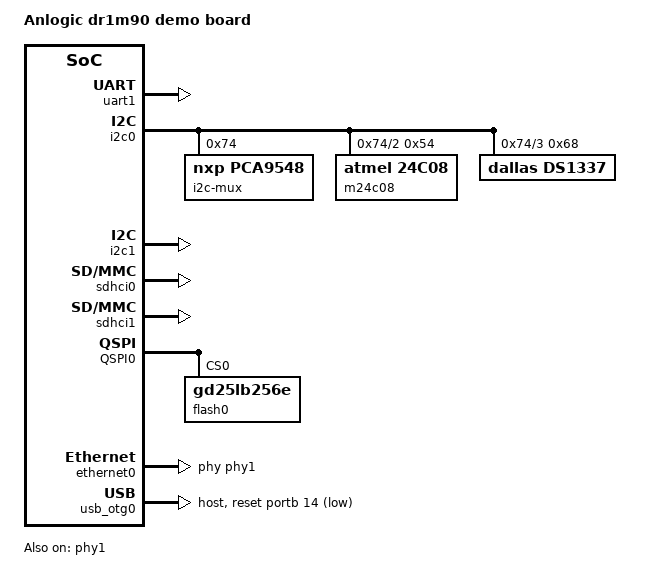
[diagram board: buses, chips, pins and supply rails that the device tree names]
// SPDX-License-Identifier: (GPL-2.0+ OR MIT)

/*
 * Copyright (c) 2022 Anlogic Inc.
 */
/dts-v1/;

#include "anlogic-dr1m90.dts"

/ {
	model = "Anlogic dr1m90 demo board";
	compatible = "anlogic, dr1m90-fpga";

	aliases {
		console = &uart1;
		serial0 = &uart1;
		mmc0 = &sdhci0;
		mmc1 = &sdhci1;
		ethernet0 = &ethernet0;
		spi0 = &QSPI0;
	};
};

&memory {
	reg = <0 0x40000000>;
};

&uart0 {
	status = "disabled";
};

&uart1 {
	status = "okay";
};

&spi0 {
	status = "disabled";
};

&spi1 {
	status = "disabled";
};

&i2c0 {
	status = "okay";

	i2c-mux@74 {
		compatible = "nxp,pca9548";
		#address-cells = <1>;
		#size-cells = <0>;
		reg = <0x74>;
		status = "okay";

		i2c@2 {
			#address-cells = <1>;
			#size-cells = <0>;
			reg = <2>;
			/*
			 * IIC_EEPROM 1kB memory which uses 256B blocks
			 * where every block has different address.
			 *    0 - 256B address 0x54
			 * 256B - 512B address 0x55
			 * 512B - 768B address 0x56
			 * 768B - 1024B address 0x57
			 */
			m24c08: eeprom@54 {
				compatible = "atmel,24c08";
				reg = <0x54>;
				pagesize = <16>;
				address-width = <8>;
				status = "okay";
			};
		};

		i2c@3 {
			#address-cells = <1>;
			#size-cells = <0>;
			reg = <3>;
			ds1337: rtc@68 {
				compatible = "dallas,ds1337";
				reg = <0x68>;
				trickle-resistor-ohms = <250>;
				status = "okay";
			};
		};

	};
};

&i2c1 {
	status = "okay";
};

&gpio {
	status = "okay";
};

&sdhci0 {
	rx_clk_phase = <0>;
	status = "okay";
};

&sdhci1 {
	rx_clk_phase = <6>;
	status = "okay";
};

&QSPI0 {
	u-boot,dm-pre-reloc; 
	rx-sample-delay = <1>;
	spi-max-frequency = <AL_QSPI_MAX_FREQUENCY>;
	status = "okay";

	flash0: flash@0 {
		u-boot,dm-pre-reloc;
		compatible = "gd25lb256e","jedec,spi-nor";
		reg = <0x0>;
		spi-tx-bus-width = <4>;
		spi-rx-bus-width = <4>;
		spi-max-frequency = <AL_QSPI_MAX_FREQUENCY>;
	};
};

&nand0 {
	status = "disabled";
};

&smcc {
	status = "disabled";
};

&ethernet0 {
	phy-handle = <&phy1>;
	status = "okay";
};

&phy0 {
	/* Realtek RTL8211F (0x001cc916) */
	status = "disabled";
};

&phy1 {
	/* Motorcomm YT8531 (0x4f51e91b) */
	/* Reset gbe phy, 1: active low */
	reset-gpios = <&portb 19 1>;
	status = "okay";
};

&ethernet1 {
	phy-handle = <&phy2>;
	status = "disabled";
};

&phy2 {
	/* Realtek RTL8211F (0x001cc916) */
	status = "disabled";
};

&phy3 {
	/* Motorcomm YT8531 (0x4f51e91b) */
	status = "disabled";
};

&usb_otg0 {
	status = "okay";
	/* Reset usb phy, 1: active low */
	dr_mode = "host"; 
	reset-gpios = <&portb 14 1>;
	reset-delays = <10>;
};

